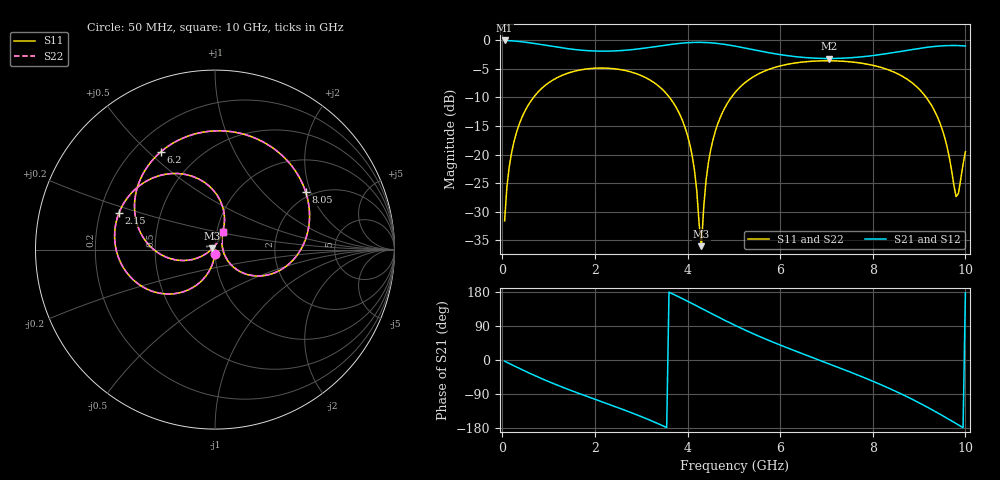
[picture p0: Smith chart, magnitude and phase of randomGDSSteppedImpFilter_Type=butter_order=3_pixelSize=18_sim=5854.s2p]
! freq	dB(S11)	phase(S11)	dB(S12)	phase(S12)
!  dB(S21)	phase(S21)	dB(S22)	phase(S22)
!S-par simulation data
#  GHz  S  DB  R 50
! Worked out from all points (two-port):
!   200 points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, 50 MHz to 10 GHz, reference 50 ohm
!   highest |S21| = -0.01 dB at 50 MHz (marker M1); lowest = -3.2 dB at 7.05 GHz (marker M2)
!   |S21| within 3 dB of the highest: start of sweep to 6.543 GHz; 7.573 GHz to end of sweep
!   lowest |S11| = -36.0 dB at 4.3 GHz (marker M3), VSWR 1.03, Z = 48.6 + j0.615 ohm
!   |S11| at or under -10 dB: start of sweep to 673.5 MHz; 3.612 GHz to 4.943 GHz (1.331 GHz wide, 31.1 % of centre); 9.155 GHz to end of sweep
!   |S22| runs from -36.0 to -3.6 dB; largest |S21 - S12| = 0
!   S11 on the Smith chart (normalised r, x): 50 MHz: 1.00, -0.05; 2.15 GHz: 0.28, +0.17; 6.2 GHz: 0.31, +0.55; 8.05 GHz: 1.84, +1.85; 10 GHz: 1.07, +0.21
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0.05  -31.61 -93.2  -0.01 -3.1  -0.01 -3.1  -31.61 -93.2
0.2  -19.70 -102.7  -0.07 -12.1  -0.07 -12.1  -19.70 -102.7
0.5  -12.21 -120.3  -0.31 -29.8  -0.31 -29.8  -12.21 -120.3
1.05  -7.15 -150.0  -1.01 -59.5  -1.01 -59.5  -7.15 -150.0
1.75  -5.08 177.0  -1.74 -92.5  -1.74 -92.5  -5.08 177.0
2.15  -4.84 159.3  -1.88 -110.2  -1.88 -110.2  -4.84 159.3
3.4  -8.17 100.8  -0.97 -169.9  -0.97 -169.9  -8.17 100.8
4  -16.66 69.7  -0.40 155.1  -0.40 155.1  -16.66 69.7
4.15  -22.75 66.2  -0.35 145.8  -0.35 145.8  -22.75 66.2
4.3  -36.05 156.3  -0.34 136.3  -0.34 136.3  -36.02 156.3
4.4  -24.52 -154.6  -0.37 130.0  -0.37 130.0  -24.52 -154.6
4.5  -19.17 -154.5  -0.42 123.7  -0.42 123.7  -19.17 -154.5
5.05  -8.90 177.5  -1.04 90.0  -1.04 90.0  -8.90 177.5
6.2  -4.12 119.1  -2.72 29.9  -2.72 29.9  -4.12 119.1
6.7  -3.64 96.0  -3.09 6.4  -3.09 6.4  -3.64 96.1
7.05  -3.57 80.0  -3.17 -9.9  -3.17 -9.9  -3.57 80.1
8.05  -4.45 32.4  -2.60 -58.6  -2.60 -58.6  -4.45 32.5
8.35  -5.19 17.0  -2.25 -74.6  -2.25 -74.6  -5.19 17.1
9.3  -11.83 -34.7  -1.08 -132.6  -1.08 -132.6  -11.82 -34.4
9.55  -16.93 -43.6  -0.93 -149.9  -0.93 -149.9  -16.90 -43.1
9.8  -27.36 0.5  -0.89 -167.7  -0.89 -167.7  -27.09 0.8
10  -19.49 65.0  -0.98 177.7  -0.98 177.7  -19.44 64.1
